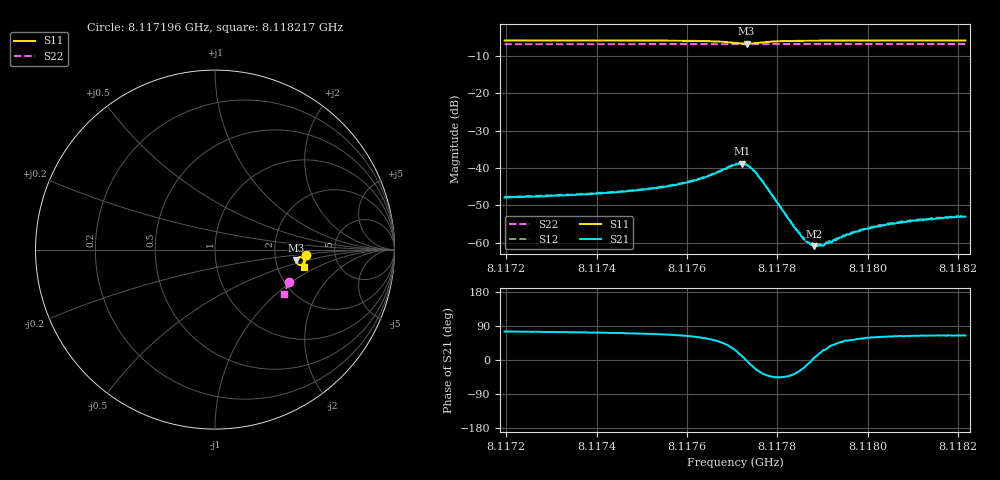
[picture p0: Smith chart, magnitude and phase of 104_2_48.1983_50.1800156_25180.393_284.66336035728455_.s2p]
#  HZ  S  RI  R  50.00
! Rohde & Schwarz Vector Network Analyzer
! Rohde-Schwarz,ZNB20-2Port,1311601062101988,3.16
! Created: UTC 3/20/2024, 11:40:43 AM
! freq[Hz]  re:S11  im:S11  re:S21  im:S21  re:S12  im:S12  re:S22  im:S22
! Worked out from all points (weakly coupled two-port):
!   401 points, 8.117196 GHz to 8.118217 GHz, reference 50 ohm
!   highest |S21| = -38.84 dB at 8.117722 GHz (marker M1); lowest = -60.9 dB at 8.117882 GHz (marker M2)
!   lowest |S11| = -6.8 dB at 8.117732 GHz (marker M3), VSWR 2.68, Z = 131 - j19.7 ohm
!   |S11| at or under -10 dB: nowhere
!   |S22| runs from -6.9 to -6.9 dB; largest |S21 - S12| = 0.00035
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8.1171962e9  0.5048 -0.0324  0.00101 0.0039  0.00109 0.004  0.4126 -0.1824
8.1173672e9  0.5031 -0.0468  0.00131 0.00424  0.00135 0.00429  0.4082 -0.1934
8.1174539e9  0.5018 -0.055  0.00154 0.00456  0.00164 0.0046  0.4057 -0.1993
8.1175381e9  0.4992 -0.0638  0.00202 0.00505  0.00215 0.00516  0.4031 -0.2047
8.117584e9  0.4968 -0.0697  0.00258 0.00553  0.00269 0.00561  0.4016 -0.2077
8.1176274e9  0.4925 -0.0765  0.00355 0.00614  0.00371 0.00622  0.4002 -0.2105
8.1177065e9  0.4618 -0.0811  0.00986 0.00493  0.0102 0.00488  0.3966 -0.215
8.1177218e9  0.4536 -0.0699  0.0112 0.00202  0.0115 0.00201  0.396 -0.2153
8.117732e9  0.4533 -0.0594  0.0109 -0.000387  0.0113 -0.000451  0.3957 -0.2155
8.1177447e9  0.4592 -0.0482  0.0093 -0.00263  0.00937 -0.00277  0.3957 -0.2157
8.1177575e9  0.4688 -0.0427  0.00689 -0.00363  0.00701 -0.00394  0.3958 -0.2165
8.1178442e9  0.4964 -0.0589  0.00121 -0.000805  0.00123 -0.000809  0.3941 -0.2226
8.1178621e9  0.4975 -0.0621  0.00102 -0.000312  0.00106 -0.000353  0.3937 -0.2239
8.1178774e9  0.498 -0.0646  0.000935 2.11e-05  0.000991 -2.6e-05  0.3932 -0.2249
8.1178825e9  0.498 -0.0654  0.000896 0.000108  0.000923 7.1e-05  0.393 -0.2252
8.1178927e9  0.4982 -0.0669  0.000876 0.000277  0.000924 0.000222  0.3926 -0.2258
8.1179003e9  0.4983 -0.068  0.000836 0.000384  0.000898 0.000371  0.3926 -0.2262
8.1179718e9  0.4983 -0.0767  0.000832 0.00113  0.000831 0.00114  0.3902 -0.2309
8.1179973e9  0.498 -0.0793  0.000809 0.00132  0.000824 0.00135  0.3893 -0.2327
8.1180483e9  0.4975 -0.0844  0.000821 0.00155  0.000852 0.00159  0.3875 -0.2358
8.1181146e9  0.4968 -0.0902  0.000876 0.00179  0.000889 0.00185  0.3852 -0.2398
8.1182167e9  0.4952 -0.0987  0.000969 0.00202  0.000991 0.00205  0.3817 -0.2461
